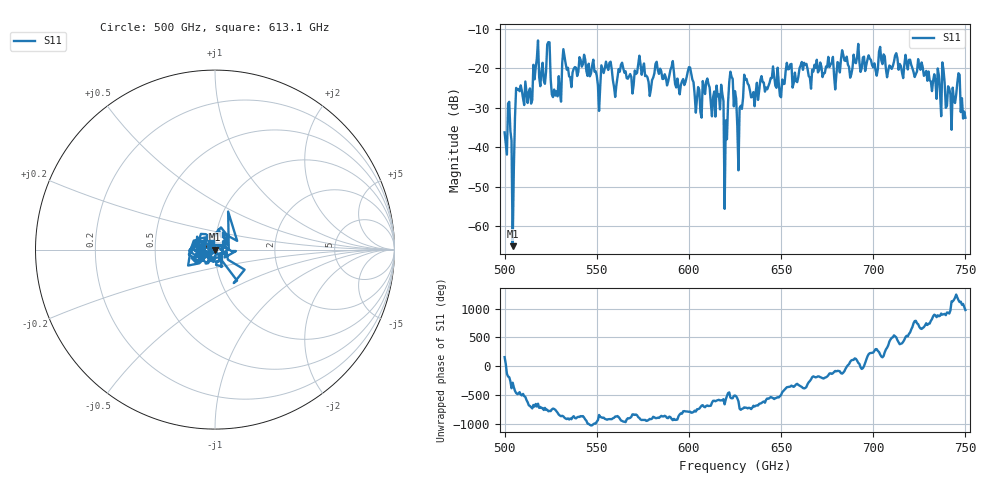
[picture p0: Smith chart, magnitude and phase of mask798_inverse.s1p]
!Created with skrf (http://scikit-rf.org).
# GHz S MA R 50.0
!freq magS11 angS11
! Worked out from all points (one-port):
!   401 points, 500 GHz to 750 GHz, reference 50 ohm
!   lowest |S11| = -65.0 dB at 504.4 GHz (marker M1), VSWR 1.00, Z = 50 + j0.0543 ohm
!   |S11| at or under -10 dB: start of sweep to end of sweep
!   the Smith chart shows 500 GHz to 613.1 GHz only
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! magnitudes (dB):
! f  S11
! 500 GHz  -36.2
! 502.5 GHz  -28.5
! 504.4 GHz  -65.0
! 507.5 GHz  -25.2
! 513.8 GHz  -25.1
! 516.9 GHz  -19.8
! 520.6 GHz  -18.6
! 523.8 GHz  -13.4
! 526.9 GHz  -25.4
! 531.2 GHz  -18.7
! 560 GHz  -27.3
! 562.5 GHz  -20.9
! 593.8 GHz  -22.6
! 600 GHz  -19.7
! 605.6 GHz  -25.5
! 616.2 GHz  -26.6
! 620 GHz  -33.2
! 622.5 GHz  -20.9
! 625 GHz  -25.8
! 627.5 GHz  -30.1
! 631.2 GHz  -22.7
! 635 GHz  -26.0
! 656.2 GHz  -24.9
! 687.5 GHz  -22.4
! 718.8 GHz  -20.3
! 743.1 GHz  -24.9
! 745.6 GHz  -23.7
! 750 GHz  -32.5
